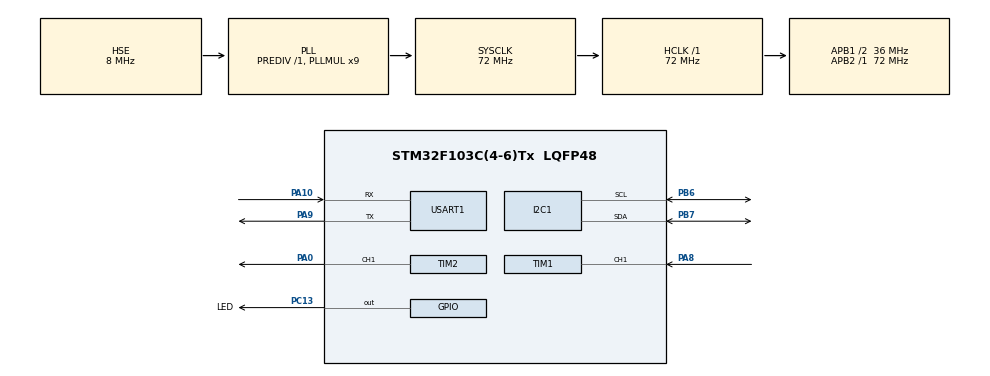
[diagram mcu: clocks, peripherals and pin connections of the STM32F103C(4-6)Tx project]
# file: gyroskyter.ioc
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Dma.Request0=TIM2_CH1
Dma.TIM2_CH1.0.Direction=DMA_MEMORY_TO_PERIPH
Dma.TIM2_CH1.0.Instance=DMA1_Channel5
Dma.TIM2_CH1.0.MemDataAlignment=DMA_MDATAALIGN_HALFWORD
Dma.TIM2_CH1.0.MemInc=DMA_MINC_ENABLE
Dma.TIM2_CH1.0.Mode=DMA_NORMAL
Dma.TIM2_CH1.0.PeriphDataAlignment=DMA_PDATAALIGN_HALFWORD
Dma.TIM2_CH1.0.PeriphInc=DMA_PINC_DISABLE
Dma.TIM2_CH1.0.Priority=DMA_PRIORITY_LOW
Mcu.Family=STM32F1
Mcu.Name=STM32F103C(4-6)Tx
Mcu.Package=LQFP48
NVIC.DMA1_Channel5_IRQn=true\:0\:0\:false\:false\:true\:false\:true\:true
NVIC.FLASH_IRQn=true\:0\:0\:false\:false\:true\:true\:true\:true
NVIC.I2C1_EV_IRQn=true\:0\:0\:false\:false\:true\:true\:true\:true
NVIC.PriorityGroup=NVIC_PRIORITYGROUP_4
NVIC.RCC_IRQn=true\:0\:0\:false\:false\:true\:true\:false\:true
NVIC.TIM1_BRK_IRQn=true\:0\:0\:false\:false\:true\:true\:true\:true
NVIC.TIM1_CC_IRQn=true\:0\:0\:false\:false\:true\:true\:true\:true
NVIC.TIM1_TRG_COM_IRQn=true\:0\:0\:false\:false\:true\:true\:true\:true
NVIC.TIM1_UP_IRQn=true\:0\:0\:false\:false\:true\:true\:true\:true
NVIC.USART1_IRQn=true\:0\:0\:false\:false\:true\:true\:true\:true
PA0-WKUP.Signal=S_TIM2_CH1_ETR
PA10.Mode=Asynchronous
PA10.Signal=USART1_RX
PA13.Mode=Trace_Asynchronous_SW
PA13.Signal=SYS_JTMS-SWDIO
PA14.Mode=Trace_Asynchronous_SW
PA14.Signal=SYS_JTCK-SWCLK
PA8.Signal=S_TIM1_CH1
PA9.Mode=Asynchronous
PA9.Signal=USART1_TX
PB3.Mode=Trace_Asynchronous_SW
PB3.Signal=SYS_JTDO-TRACESWO
PB6.Mode=I2C
PB6.Signal=I2C1_SCL
PB7.Mode=I2C
PB7.Signal=I2C1_SDA
PC13-TAMPER-RTC.GPIO_Label=LED
PC13-TAMPER-RTC.Signal=GPIO_Output
PD0-OSC_IN.Mode=HSE-External-Oscillator
PD0-OSC_IN.Signal=RCC_OSC_IN
PD1-OSC_OUT.Mode=HSE-External-Oscillator
PD1-OSC_OUT.Signal=RCC_OSC_OUT
ProjectManager.HeapSize=0x200
ProjectManager.StackSize=0x400
ProjectManager.TargetToolchain=STM32CubeIDE
RCC.AHBFreq_Value=72000000
RCC.APB1CLKDivider=RCC_HCLK_DIV2
RCC.APB1Freq_Value=36000000
RCC.APB1TimFreq_Value=72000000
RCC.APB2Freq_Value=72000000
RCC.APB2TimFreq_Value=72000000
RCC.HCLKFreq_Value=72000000
RCC.PLLMUL=RCC_PLL_MUL9
RCC.PLLSourceVirtual=RCC_PLLSOURCE_HSE
RCC.SYSCLKFreq_VALUE=72000000
RCC.SYSCLKSource=RCC_SYSCLKSOURCE_PLLCLK
RCC.USBFreq_Value=72000000
SH.S_TIM1_CH1.0=TIM1_CH1,Input_Capture1_from_TI1
SH.S_TIM1_CH1.1=TIM1_CH1,TriggerSource_TI1FP1
SH.S_TIM2_CH1_ETR.0=TIM2_CH1,PWM Generation1 CH1
TIM1.Channel-Input_Capture1_from_TI1=TIM_CHANNEL_1
TIM1.Channel-Input_Capture2_from_TI1_63=TIM_CHANNEL_2
TIM1.ICPolarity_CH2=TIM_INPUTCHANNELPOLARITY_FALLING
TIM1.Period=65000
TIM1.Prescaler=71
TIM2.Channel-PWM\ Generation1\ CH1=TIM_CHANNEL_1
TIM2.Period=65450
TIM2.Prescaler=22-1
USART1.VirtualMode=VM_ASYNC
VP_TIM1_VS_ControllerModeReset.Mode=Reset Mode
VP_TIM1_VS_indirect_ch1.Mode=Input_Capture2_from_TI1_63
board=custom

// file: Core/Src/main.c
/* USER CODE BEGIN Header */
/**
  ******************************************************************************
  * @file           : main.c
  * @brief          : Main program body
  ******************************************************************************
  * @attention
  *
  * Copyright (c) 2024 STMicroelectronics.
  * All rights reserved.
  *
  * This software is licensed under terms that can be found in the LICENSE file
  * in the root directory of this software component.
  * If no LICENSE file comes with this software, it is provided AS-IS.
  *
  ******************************************************************************
  */
/* USER CODE END Header */
#include "main.h"
#include "dma.h"
#include "i2c.h"
#include "tim.h"
#include "usart.h"
#include "gpio.h"

/* USER CODE BEGIN Includes */
#include "MCU6050.h"
/* USER CODE END Includes */

/* USER CODE BEGIN PM */
int _write(int32_t file, uint8_t ptr, int32_t len)
    {
        for (int i = 0; i < len; i++)
        {
            ITM_SendChar(ptr++);
        }
        return len;
    }
/* USER CODE END PM */

void SystemClock_Config(void);
/* USER CODE BEGIN PFP */
void servo_deg(uint8_t deg){
		deg >=360? deg=360: deg;
		deg ==0? deg = 0:deg;
		TIM2->CCR1 = 7500 - (deg*35);

}

/* USER CODE END PFP */

/* USER CODE BEGIN 0 */
void MPU_6050_Init(void){
	int check=0;
	int data=0;

	HAL_I2C_Mem_Read (&hi2c1, MPU6050_ADDRESS_AD0_LOW, MPU6050_RA_WHO_AM_I, 1, &check, 1, 1000);
	if (check==104) {
	HAL_I2C_Mem_Write(&hi2c1, MPU6050_ADDRESS_AD0_LOW, MPU6050_RA_PWR_MGMT_1, 1, &data, 1, 1000);
	data = 0x07;
	HAL_I2C_Mem_Write(&hi2c1, MPU6050_ADDRESS_AD0_LOW, MPU6050_RA_SMPLRT_DIV, 1, &data, 1, 1000);

	data = 0x00;
	HAL_I2C_Mem_Write(&hi2c1, MPU6050_ADDRESS_AD0_LOW, MPU6050_RA_ACCEL_CONFIG, 1, &data, 1, 1000);
	data = 0x00;
	HAL_I2C_Mem_Write(&hi2c1, MPU6050_ADDRESS_AD0_LOW, MPU6050_RA_GYRO_CONFIG, 1, &data, 1, 1000);
	}
}

int16_t Accel_X_RAW = 0;
int16_t Accel_Y_RAW = 0;
int16_t Accel_Z_RAW = 0;
uint8_t Data1;
int16_t Gyro_X_RAW = 0;
int16_t Gyro_Y_RAW = 0;
int16_t Gyro_Z_RAW = 0;
int16_t  Accel_X_Filtr = 0;

uint32_t  timme = 0;

const int NUM_READ = 30;
int filter()
{

	long sum = 0;
	for (int i = 0; i < NUM_READ; i++)  // согласно количеству усреднений
	    sum += Accel_X_RAW;                  // суммируем значения с любого датчика в переменную sum
	  return ((int)sum / NUM_READ);

}

/* USER CODE END 0 */

int main(void)
{

  /* MCU Configuration--------------------------------------------------------*/

  /* Reset of all peripherals, Initializes the Flash interface and the Systick. */
  HAL_Init();

  /* Configure the system clock */
  SystemClock_Config();

  /* Initialize all configured peripherals */
  MX_GPIO_Init();
  MX_DMA_Init();
  MX_I2C1_Init();
  MX_TIM1_Init();
  MX_USART1_UART_Init();
  MX_TIM2_Init();
  /* USER CODE BEGIN 2 */
  uint8_t Rec_Data[6]={0,0,0,0,0,0};
  MPU_6050_Init();
  /* USER CODE END 2 */
  HAL_TIM_PWM_Start_IT(&htim2,TIM_CHANNEL_1);
  /* Infinite loop */
  /* USER CODE BEGIN WHILE */
  while (1)
  {

	  HAL_I2C_Mem_Read(&hi2c1,MPU6050_ADDRESS_AD0_LOW, MPU6050_RA_ACCEL_XOUT_H, 1, Rec_Data, 6, 1000);
	                        Accel_X_RAW = (int16_t)(Rec_Data[0] << 8 | Rec_Data [1]);
	                        Accel_Y_RAW = (int16_t)(Rec_Data[2] << 8 | Rec_Data [3]);
	                        Accel_Z_RAW = (int16_t)(Rec_Data[4] << 8 | Rec_Data [5]);
	  //
	                      //HAL_Delay(10);

	                        HAL_I2C_Mem_Read(&hi2c1,MPU6050_ADDRESS_AD0_LOW, MPU6050_RA_GYRO_XOUT_H, 1, Rec_Data, 6, 1000);
	                        Gyro_X_RAW = (int16_t)(Rec_Data[0] << 8 | Rec_Data [1]);
	                        Gyro_Y_RAW = (int16_t)(Rec_Data[2] << 8 | Rec_Data [3]);
	                        Gyro_Z_RAW = (int16_t)(Rec_Data[4] << 8 | Rec_Data [5]);

//							 if((HAL_GetTick() - timme) > 1000){
//								// что-то делаем
//								timme = HAL_GetTick();
//
								Accel_X_Filtr = filter();
//
//
								 if (Accel_X_Filtr > 4000){

									 servo_deg(Accel_X_Filtr / 90);

								 }

								 if (Accel_X_Filtr > -300 && Accel_X_Filtr < 300)
									 servo_deg(90);
	//
								 if (Accel_X_Filtr < -4000 )
									 servo_deg((180 - Accel_X_Filtr / -90 ));

								 HAL_Delay(100);
					//			 TIM2->CCR1=(-Accel_X_Filtr/8)+3300;

//							}

    /* USER CODE END WHILE */

  }
}

void SystemClock_Config(void)
{
  RCC_OscInitTypeDef RCC_OscInitStruct = {0};
  RCC_ClkInitTypeDef RCC_ClkInitStruct = {0};

  /** Initializes the RCC Oscillators according to the specified parameters
  * in the RCC_OscInitTypeDef structure.
  */
  RCC_OscInitStruct.OscillatorType = RCC_OSCILLATORTYPE_HSE;
  RCC_OscInitStruct.HSEState = RCC_HSE_ON;
  RCC_OscInitStruct.HSEPredivValue = RCC_HSE_PREDIV_DIV1;
  RCC_OscInitStruct.HSIState = RCC_HSI_ON;
  RCC_OscInitStruct.PLL.PLLState = RCC_PLL_ON;
  RCC_OscInitStruct.PLL.PLLSource = RCC_PLLSOURCE_HSE;
  RCC_OscInitStruct.PLL.PLLMUL = RCC_PLL_MUL9;
  if (HAL_RCC_OscConfig(&RCC_OscInitStruct) != HAL_OK)
  {
    Error_Handler();
  }

  /** Initializes the CPU, AHB and APB buses clocks
  */
  RCC_ClkInitStruct.ClockType = RCC_CLOCKTYPE_HCLK|RCC_CLOCKTYPE_SYSCLK
                              |RCC_CLOCKTYPE_PCLK1|RCC_CLOCKTYPE_PCLK2;
  RCC_ClkInitStruct.SYSCLKSource = RCC_SYSCLKSOURCE_PLLCLK;
  RCC_ClkInitStruct.AHBCLKDivider = RCC_SYSCLK_DIV1;
  RCC_ClkInitStruct.APB1CLKDivider = RCC_HCLK_DIV2;
  RCC_ClkInitStruct.APB2CLKDivider = RCC_HCLK_DIV1;

  if (HAL_RCC_ClockConfig(&RCC_ClkInitStruct, FLASH_LATENCY_2) != HAL_OK)
  {
    Error_Handler();
  }
}

void Error_Handler(void)
{
  __disable_irq();
  while (1)
  {
  }
}
